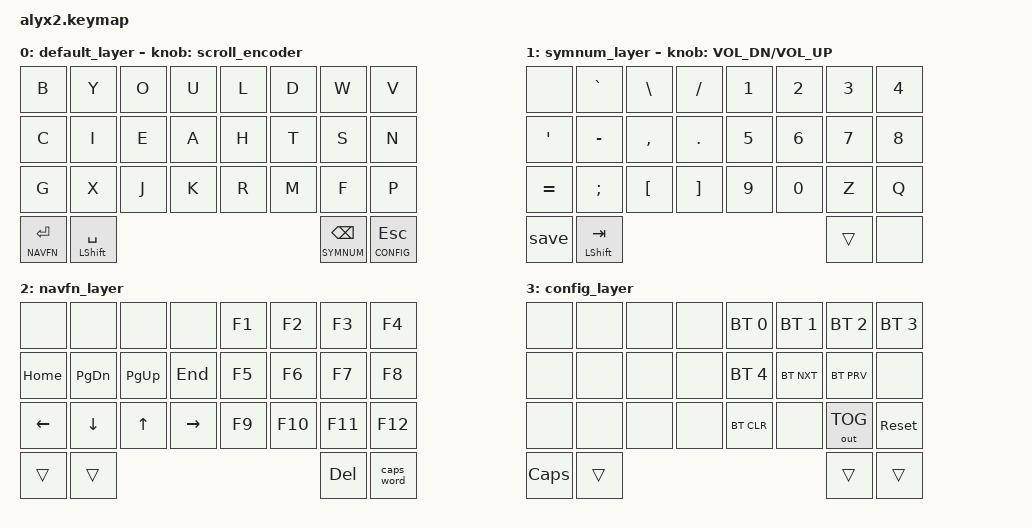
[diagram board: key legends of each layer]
#include <behaviors.dtsi>
#include <dt-bindings/zmk/keys.h>
#include <dt-bindings/zmk/bt.h>
#include <dt-bindings/zmk/outputs.h>
#include <dt-bindings/zmk/mouse.h>
#include <dt-bindings/zmk/pointing.h>

#define DEFAULT 0
#define SYMNUM 1
#define NAVFN 2
#define CONFIG 3

&msc {
    trigger-period-ms = <16>;
};

/ {    
    behaviors {
        scroll_encoder: scroll_encoder {
            compatible = "zmk,behavior-sensor-rotate";
            #sensor-binding-cells = <0>;
            bindings = <&msc MOVE_Y(72)>, <&msc MOVE_Y(-72)>;
            tap-ms = <20>;
        };
    };

    macros {
        ZMK_MACRO(save,
            wait-ms = <30>;
            tap-ms = <40>;
            bindings =  <&macro_tap &kp ESC &kp COLON &kp W &kp RET>;
        )
        ZMK_MACRO(scrollup,
            wait-ms = <10>;
            tap-ms = <10>;
            bindings = <&macro_tap &kp SLCK &kp UP &kp SLCK>;
        )
        ZMK_MACRO(scrolldn,
            wait-ms = <10>;
            tap-ms = <10>;
            bindings = <&macro_tap &kp SLCK &kp DOWN &kp SLCK>;
        )
    };

    combos {
        compatible = "zmk,combos";
        combos_lgui {
            key-positions = <0 8>;
            bindings = <&kp LGUI>;
            timeout-ms = <50>;
        };
        combos_lalt {
            key-positions = <1 9>;
            bindings = <&kp LALT>;
            timeout-ms = <50>;
        };
        combos_lshft {
            key-positions = <2 10>;
            bindings = <&kp LSHFT>;
            timeout-ms = <50>;
        };
        combos_lctrl {
            key-positions = <3 11>;
            bindings = <&kp LCTRL>;
            timeout-ms = <50>;
        };
        combos_rctrl {
            key-positions = <4 12>;
            bindings = <&kp RCTRL>;
            timeout-ms = <50>;
        };
        combos_rshft {
            key-positions = <5 13>;
            bindings = <&kp RSHFT>;
            timeout-ms = <50>;
        };
        combos_ralt {
            key-positions = <6 14>;
            bindings = <&kp RALT>;
            timeout-ms = <50>;
        };
        combos_rgui {
            key-positions = <7 15>;
            bindings = <&kp RGUI>;
            timeout-ms = <50>;
        };
        combos_mclk {
            key-positions = <24 25>;
            bindings = <&mkp MCLK>;
            timeout-ms = <50>;
        };
    };

    keymap {
        compatible = "zmk,keymap";
        default_layer {

// | B | Y | O        | U        || L         | D         | W | V | 
// | C | I | E        | A        || H         | T         | S | N |
// | G | X | J        | K        || R         | M         | F | P |
//         | RET      | NAV(SPC) || SYM(BSPC) | CONF(ESC) |

            bindings = <
   &kp B &kp Y &kp O &kp U  &kp L   &kp D &kp W &kp V
   &kp C &kp I &kp E &kp A  &kp H   &kp T &kp S &kp N
   &kp G &kp X &kp J &kp K  &kp R   &kp M &kp F &kp P
   &lt NAVFN RET  &mt LSHFT SPACE  &lt SYMNUM BSPC &lt CONFIG ESC
            >;
            sensor-bindings = <&scroll_encoder>;
        };
        symnum_layer {

// |   | ` |  \   |  /   || 1 | 2 | 3 | 4 | 
// | ' | - | ,    | .    || 5 | 6 | 7 | 8 |
// | = | ; | [    | ]    || 9 | 0 | Z | Q |
//         | SAVE | TAB  ||   |   |

            bindings = <
   &none     &kp GRAVE &kp BSLH  &kp FSLH      &kp N1 &kp N2 &kp N3 &kp N4
   &kp SQT   &kp MINUS &kp COMMA &kp DOT       &kp N5 &kp N6 &kp N7 &kp N8
   &kp EQUAL &kp SEMI  &kp LBKT  &kp RBKT      &kp N9 &kp N0 &kp Z  &kp Q
                       &save     &mt LSHFT TAB &trans &none
            >;
            sensor-bindings = <&inc_dec_kp C_VOL_DN C_VOL_UP>;
        };
        navfn_layer {

// |      |      |      |     || F1  | F2  | F3  | F4  | 
// | HOME | PGDN | PGUP | END || F5  | F6  | F7  | F8  |
// | LFT  | DWN  | UP   | RGT || F9  | F10 | F11 | F12 |
//               |      |     || DEL |     |

            bindings = <
   &none    &none     &none     &none     &kp F1  &kp F2  &kp F3  &kp F4
   &kp HOME &kp PG_DN &kp PG_UP &kp END   &kp F5  &kp F6  &kp F7  &kp F8
   &kp LEFT &kp DOWN  &kp UP    &kp RIGHT &kp F9  &kp F10 &kp F11 &kp F12
                      &trans    &trans    &kp DEL &caps_word
            >;
        };
        config_layer {

// | RGB BRI+ | RGB SAT+ | RGB HUE+ | RGB ANI+ || BT1    | BT2 | BT3 | BT4   |
// | RGB BRI- | RGB SAT- | RGB HUE- | RGB ANI+ || BT5    |     |     |       |
// |          |          |          | RGB TOG  || BT CLR |     |     | RESET |
//                       |          |          ||        |     |

            bindings = <
   &none &none &none &none  &bt BT_SEL 0 &bt BT_SEL 1 &bt BT_SEL 2 &bt BT_SEL 3  
   &none &none &none &none &bt BT_SEL 4 &bt BT_NXT   &bt BT_PRV   &none     
   &none           &none           &none           &none  &bt BT_CLR   &none        &out OUT_TOG &sys_reset   
                                   &kp CAPS        &trans           &trans       &trans
            >;
        };
    };
};
